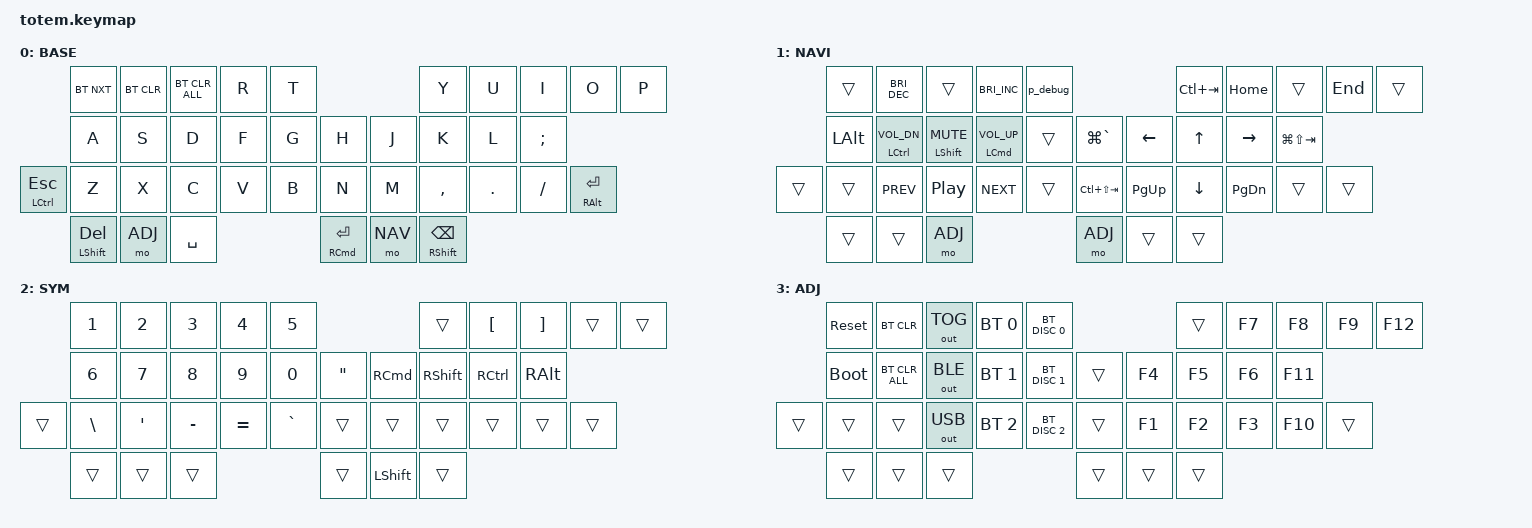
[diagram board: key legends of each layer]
//
//                                                        ▀▀▀▀▀     ▀▀▀▀▀          ▀▀█▀▀
//                                                        ▄▀▀▀▄  ▄  ▄▀▀▀▄  ▄  ▄▀▀▀▄  █  ▄▀▀▀▄
//                                                        █   █  █  █   █  █  █   █  █  █   █
//                                                         ▀▀▀   █   ▀▀▀   █   ▀▀▀   ▀   ▀▀▀
//                                                               █      ▄▄▄█▄▄▄    █   █  
//                                                               ▀      █  █  █     █▄█
//                                                             ▀▀▀▀▀    █  █  █      ▀
//                                                                      ▀  ▀  ▀
//
// ▄▄▄▄▄▄▄▄▄▄▄▄▄▄▄▄▄▄▄▄▄▄▄▄▄▄▄▄▄▄▄▄▄▄▄▄▄▄▄▄▄▄▄▄▄▄▄▄▄▄▄▄▄▄▄▄▄▄▄▄▄▄▄▄▄▄▄▄▄▄▄▄▄▄▄▄▄▄▄▄▄▄▄▄▄▄▄▄▄▄▄▄▄▄▄▄▄▄▄▄▄▄▄▄▄▄▄▄▄▄▄▄▄▄▄▄▄▄▄▄▄▄▄▄▄▄▄▄▄▄▄▄▄▄▄▄▄▄▄▄▄▄▄▄▄▄▄▄▄
       

#include <behaviors.dtsi>
#include <dt-bindings/zmk/keys.h>
#include <dt-bindings/zmk/bt.h>
#include <dt-bindings/zmk/outputs.h>

#define BASE 0
#define NAV  1
#define SYM  2
#define ADJ  3

&mt {
  quick-tap-ms = <150>;
  global-quick-tap;
  flavor = "tap-preferred";
  tapping-term-ms = <200>;
};

/ {
     combos {
            compatible = "zmk,combos";
            combo_esc {
                timeout-ms = <50>;
                key-positions = <0 1>;
                bindings = <&kp ESC>;
            };
    };

    macros {
        p_debug: p_debug {
            label = "p_debug";
            compatible = "zmk,behavior-macro";
            #binding-cells = <0>;
            bindings
                = <&macro_press &kp LEFT_COMMAND>
                , <&macro_press &kp LCTRL>
                , <&macro_press &kp LSHFT>
                , <&macro_tap &kp T>
                , <&macro_release &kp LSHFT>
                , <&macro_release &kp LEFT_COMMAND>
                , <&macro_release &kp LCTRL>
                ;
        };
    };

        keymap {
                compatible = "zmk,keymap";
// ▄▄▄▄▄▄▄▄▄▄▄▄▄▄▄▄▄▄▄▄▄▄▄▄▄▄▄▄▄▄▄▄▄▄▄▄▄▄▄▄▄▄▄▄▄▄▄▄▄▄▄▄▄▄▄▄▄▄▄▄▄▄▄▄▄▄▄▄▄▄▄▄▄▄▄▄▄▄▄▄▄▄▄▄▄▄▄▄▄▄▄▄▄▄▄▄▄▄▄▄▄▄▄▄▄▄▄▄▄▄▄▄▄▄▄▄▄▄▄▄▄▄▄▄▄▄▄▄▄▄▄▄▄▄▄▄▄▄▄▄▄▄▄▄▄▄▄▄▄

                base_layer {
// ┏━━━━━━━━━━━━━━━━━━━━━━━━━━━━━━━━━━━━━━━┓
label= "BASE"                              ;
// ┗━━━━━━━━━━━━━━━━━━━━━━━━━━━━━━━━━━━━━━━┛
//             ┏━━━━━━━━━━━┳━━━━━━━━━━━┳━━━━━━━━━━━┳━━━━━━━━━━━┳━━━━━━━━━━━┓   ┏━━━━━━━━━━━┳━━━━━━━━━━━┳━━━━━━━━━━━┳━━━━━━━━━━━┳━━━━━━━━━━━┓
//             ┃     Q     ┃     W     ┃     E     ┃     R     ┃     T     ┃   ┃     Y     ┃     U     ┃     I     ┃     O     ┃     P     ┃
//             ┣━━━━━━━━━━━╋━━━━━━━━━━━╋━━━━━━━━━━━╋━━━━━━━━━━━╋━━━━━━━━━━━┫   ┣━━━━━━━━━━━╋━━━━━━━━━━━╋━━━━━━━━━━━╋━━━━━━━━━━━╋━━━━━━━━━━━┫
//             ┃     A     ┃     S     ┃     D     ┃     F     ┃     G     ┃   ┃     H     ┃     J     ┃     K     ┃     L     ┃     ;     ┃
// ┏━━━━━━━━━━━╋━━━━━━━━━━━╋━━━━━━━━━━━╋━━━━━━━━━━━╋━━━━━━━━━━━╋━━━━━━━━━━━┫   ┣━━━━━━━━━━━╋━━━━━━━━━━━╋━━━━━━━━━━━╋━━━━━━━━━━━╋━━━━━━━━━━━╋━━━━━━━━━━━┓
// ┃ CTRL/ESC  ┃     Z     ┃     X     ┃     C     ┃     V     ┃     B     ┃   ┃     N     ┃     M     ┃     ,     ┃     .     ┃     /     ┃  ALT/RET  ┃
// ┗━━━━━━━━━━━┻━━━━━━━━━━━┻━━━━━━━━━━━╋━━━━━━━━━━━╋━━━━━━━━━━━╋━━━━━━━━━━━┫   ┣━━━━━━━━━━━╋━━━━━━━━━━━╋━━━━━━━━━━━╋━━━━━━━━━━━┻━━━━━━━━━━━┻━━━━━━━━━━━┛
//                                     ┃SHIFT/DEL  ┃ SYM/TAB   ┃     SPACE ┃   ┃  CMD/RET  ┃ NAV       ┃ SHIFT/BSPC┃
//                                     ┗━━━━━━━━━━━┻━━━━━━━━━━━┻━━━━━━━━━━━┛   ┗━━━━━━━━━━━┻━━━━━━━━━━━┻━━━━━━━━━━━┛
 bindings = <
// ╷           ╷           ╷           ╷           ╷           ╷           ╷   ╷           ╷           ╷           ╷           ╷           ╷           ╷

                    &bt BT_NXT       &bt BT_CLR       &bt BT_CLR_ALL       &kp R       &kp T           &kp Y       &kp U       &kp I       &kp O       &kp P
                    &kp A       &kp S       &kp D       &kp F       &kp G           &kp H       &kp J       &kp K       &kp L       &kp SEMICOLON
    &mt LCTRL ESC   &kp Z       &kp X       &kp C       &kp V       &kp B           &kp N       &kp M       &kp COMMA   &kp DOT     &kp FSLH        &mt RIGHT_ALT RET

                        &mt LSHFT DELETE   &mo ADJ   &kp SPACE              &mt RCMD RET    &mo NAV     &mt RSHIFT BSPC
                        >;
                };

// ▄▄▄▄▄▄▄▄▄▄▄▄▄▄▄▄▄▄▄▄▄▄▄▄▄▄▄▄▄▄▄▄▄▄▄▄▄▄▄▄▄▄▄▄▄▄▄▄▄▄▄▄▄▄▄▄▄▄▄▄▄▄▄▄▄▄▄▄▄▄▄▄▄▄▄▄▄▄▄▄▄▄▄▄▄▄▄▄▄▄▄▄▄▄▄▄▄▄▄▄▄▄▄▄▄▄▄▄▄▄▄▄▄▄▄▄▄▄▄▄▄▄▄▄▄▄▄▄▄▄▄▄▄▄▄▄▄▄▄▄▄▄▄▄▄▄▄▄▄


                nav_layer {
// ┏━━━━━━━━━━━━━━━━━━━━━━━━━━━━━━━━━━━━━━━┓
label= "NAVI"                              ;
// ┗━━━━━━━━━━━━━━━━━━━━━━━━━━━━━━━━━━━━━━━┛
//             ┏━━━━━━━━━━━┳━━━━━━━━━━━┳━━━━━━━━━━━┳━━━━━━━━━━━┳━━━━━━━━━━━┓   ┏━━━━━━━━━━━┳━━━━━━━━━━━┳━━━━━━━━━━━┳━━━━━━━━━━━┳━━━━━━━━━━━┓
//             ┃           ┃  BRI_DEC  ┃           ┃  BRI_INC  ┃ P DEBUG C ┃   ┃ CTRL+TAB  ┃    HOME   ┃           ┃     END   ┃           ┃
//             ┣━━━━━━━━━━━╋━━━━━━━━━━━╋━━━━━━━━━━━╋━━━━━━━━━━━╋━━━━━━━━━━━┫   ┣━━━━━━━━━━━╋━━━━━━━━━━━╋━━━━━━━━━━━╋━━━━━━━━━━━╋━━━━━━━━━━━┫
//             ┃   ALT     ┃ CTRL/VOL- ┃ SHIFT/MUTE┃ CMD/VOL+  ┃           ┃   ┃ CMD+`     ┃    LEFT   ┃     UP    ┃   RIGHT   ┃ CMD+TAB   ┃
// ┏━━━━━━━━━━━╋━━━━━━━━━━━╋━━━━━━━━━━━╋━━━━━━━━━━━╋━━━━━━━━━━━╋━━━━━━━━━━━┫   ┣━━━━━━━━━━━╋━━━━━━━━━━━╋━━━━━━━━━━━╋━━━━━━━━━━━╋━━━━━━━━━━━╋━━━━━━━━━━━┓
// ┃           ┃           ┃  PREV     ┃PLAY_PAUSE ┃   NEXT    ┃           ┃   ┃CTRL+SH+TAB┃    P UP   ┃    DOWN   ┃   P DOWN  ┃           ┃           ┃
// ┗━━━━━━━━━━━┻━━━━━━━━━━━┻━━━━━━━━━━━╋━━━━━━━━━━━╋━━━━━━━━━━━╋━━━━━━━━━━━┫   ┣━━━━━━━━━━━╋━━━━━━━━━━━╋━━━━━━━━━━━╋━━━━━━━━━━━┻━━━━━━━━━━━┻━━━━━━━━━━━┛
//                                     ┃           ┃           ┃    ADJ    ┃   ┃    ADJ    ┃           ┃           ┃
//                                     ┗━━━━━━━━━━━┻━━━━━━━━━━━┻━━━━━━━━━━━┛   ┗━━━━━━━━━━━┻━━━━━━━━━━━┻━━━━━━━━━━━┛
 bindings = <
// ╷           ╷           ╷           ╷           ╷           ╷           ╷   ╷           ╷           ╷           ╷           ╷           ╷           ╷

                &trans      &kp C_BRI_DEC   &trans  &kp C_BRI_INC   &p_debug         &kp LC(TAB)    &kp HOME    &trans      &kp END     &trans
                &kp LALT      &mt LCTRL C_VOL_DN    &mt LSHFT C_MUTE  &mt LCMD C_VOL_UP    &trans       &kp LG(GRAVE)   &kp LEFT    &kp UP      &kp RIGHT   &kp LG(LS(TAB))
    &trans      &trans      &kp C_PREV  &kp C_PLAY_PAUSE    &kp C_NEXT  &trans       &kp LC(LS(TAB))     &kp PG_UP   &kp DOWN    &kp PG_DN   &trans      &trans
                                        &trans      &trans      &mo ADJ              &mo ADJ    &trans      &trans
                        >;
                };

// ▄▄▄▄▄▄▄▄▄▄▄▄▄▄▄▄▄▄▄▄▄▄▄▄▄▄▄▄▄▄▄▄▄▄▄▄▄▄▄▄▄▄▄▄▄▄▄▄▄▄▄▄▄▄▄▄▄▄▄▄▄▄▄▄▄▄▄▄▄▄▄▄▄▄▄▄▄▄▄▄▄▄▄▄▄▄▄▄▄▄▄▄▄▄▄▄▄▄▄▄▄▄▄▄▄▄▄▄▄▄▄▄▄▄▄▄▄▄▄▄▄▄▄▄▄▄▄▄▄▄▄▄▄▄▄▄▄▄▄▄▄▄▄▄▄▄▄▄▄


                sim_layer {
// ┏━━━━━━━━━━━━━━━━━━━━━━━━━━━━━━━━━━━━━━━┓
label= "SYM"                               ;
// ┗━━━━━━━━━━━━━━━━━━━━━━━━━━━━━━━━━━━━━━━┛
//             ┏━━━━━━━━━━━┳━━━━━━━━━━━┳━━━━━━━━━━━┳━━━━━━━━━━━┳━━━━━━━━━━━┓   ┏━━━━━━━━━━━┳━━━━━━━━━━━┳━━━━━━━━━━━┳━━━━━━━━━━━┳━━━━━━━━━━━┓
//             ┃     1     ┃     2     ┃     3     ┃     4     ┃     5     ┃   ┃           ┃   [/{     ┃  ]/}      ┃           ┃           ┃
//             ┣━━━━━━━━━━━╋━━━━━━━━━━━╋━━━━━━━━━━━╋━━━━━━━━━━━╋━━━━━━━━━━━┫   ┣━━━━━━━━━━━╋━━━━━━━━━━━╋━━━━━━━━━━━╋━━━━━━━━━━━╋━━━━━━━━━━━┫
//             ┃     6     ┃     7     ┃     8     ┃     9     ┃     0     ┃   ┃      "    ┃    CMD    ┃   SHIFT   ┃   CTRL    ┃   ALT     ┃
// ┏━━━━━━━━━━━╋━━━━━━━━━━━╋━━━━━━━━━━━╋━━━━━━━━━━━╋━━━━━━━━━━━╋━━━━━━━━━━━┫   ┣━━━━━━━━━━━╋━━━━━━━━━━━╋━━━━━━━━━━━╋━━━━━━━━━━━╋━━━━━━━━━━━╋━━━━━━━━━━━┓
// ┃           ┃     \|    ┃     '/"   ┃    -/_    ┃    =/+    ┃    `/~    ┃   ┃           ┃           ┃           ┃           ┃           ┃           ┃
// ┗━━━━━━━━━━━┻━━━━━━━━━━━┻━━━━━━━━━━━╋━━━━━━━━━━━╋━━━━━━━━━━━╋━━━━━━━━━━━┫   ┣━━━━━━━━━━━╋━━━━━━━━━━━╋━━━━━━━━━━━╋━━━━━━━━━━━┻━━━━━━━━━━━┻━━━━━━━━━━━┛
//                                     ┃           ┃           ┃           ┃   ┃           ┃    SHIFT  ┃           ┃
//                                     ┗━━━━━━━━━━━┻━━━━━━━━━━━┻━━━━━━━━━━━┛   ┗━━━━━━━━━━━┻━━━━━━━━━━━┻━━━━━━━━━━━┛
 bindings = <
// ╷           ╷           ╷           ╷           ╷           ╷           ╷   ╷           ╷           ╷           ╷           ╷           ╷           ╷

                &kp N1      &kp N2      &kp N3      &kp N4      &kp N5          &trans      &kp LBKT    &kp RBKT      &trans      &trans
                &kp N6      &kp N7      &kp N8      &kp N9      &kp N0          &kp DQT     &kp RCMD    &kp RSHFT     &kp RCTRL   &kp RALT
    &trans      &kp BSLH    &kp SQT     &kp MINUS   &kp EQUAL   &kp GRAVE       &trans      &trans      &trans        &trans      &trans   &trans
                                        &trans      &trans      &trans          &trans      &kp LSHFT   &trans
                        >;
                };

// ▄▄▄▄▄▄▄▄▄▄▄▄▄▄▄▄▄▄▄▄▄▄▄▄▄▄▄▄▄▄▄▄▄▄▄▄▄▄▄▄▄▄▄▄▄▄▄▄▄▄▄▄▄▄▄▄▄▄▄▄▄▄▄▄▄▄▄▄▄▄▄▄▄▄▄▄▄▄▄▄▄▄▄▄▄▄▄▄▄▄▄▄▄▄▄▄▄▄▄▄▄▄▄▄▄▄▄▄▄▄▄▄▄▄▄▄▄▄▄▄▄▄▄▄▄▄▄▄▄▄▄▄▄▄▄▄▄▄▄▄▄▄▄▄▄▄▄▄▄


                adjust_layer {
// ┏━━━━━━━━━━━━━━━━━━━━━━━━━━━━━━━━━━━━━━━┓
label= "ADJ"                               ;
// ┗━━━━━━━━━━━━━━━━━━━━━━━━━━━━━━━━━━━━━━━┛
//             ┏━━━━━━━━━━━┳━━━━━━━━━━━┳━━━━━━━━━━━┳━━━━━━━━━━━┳━━━━━━━━━━━┓   ┏━━━━━━━━━━━┳━━━━━━━━━━━┳━━━━━━━━━━━┳━━━━━━━━━━━┳━━━━━━━━━━━┓
//             ┃   RESET   ┃ BT CLEAR  ┃  OUT TOG  ┃ BT_SEL 0  ┃ BT_DISC 0 ┃   ┃           ┃    F7     ┃    F8     ┃    F9     ┃    F12    ┃
//             ┣━━━━━━━━━━━╋━━━━━━━━━━━╋━━━━━━━━━━━╋━━━━━━━━━━━╋━━━━━━━━━━━┫   ┣━━━━━━━━━━━╋━━━━━━━━━━━╋━━━━━━━━━━━╋━━━━━━━━━━━╋━━━━━━━━━━━┫
//             ┃ BOOTLOAD  ┃ BT NEXT   ┃  OUT BLE  ┃ BT_SEL 1  ┃ BT_DISC 1 ┃   ┃           ┃    F4     ┃    F5     ┃    F6     ┃    F11    ┃
// ┏━━━━━━━━━━━╋━━━━━━━━━━━╋━━━━━━━━━━━╋━━━━━━━━━━━╋━━━━━━━━━━━╋━━━━━━━━━━━┫   ┣━━━━━━━━━━━╋━━━━━━━━━━━╋━━━━━━━━━━━╋━━━━━━━━━━━╋━━━━━━━━━━━╋━━━━━━━━━━━┓
// ┃           ┃           ┃ BT PREV   ┃  OUT USB  ┃ BT_SEL 2  ┃ BT_DISC 2 ┃   ┃           ┃    F1     ┃    F2     ┃    F3     ┃    F10    ┃           ┃
// ┗━━━━━━━━━━━┻━━━━━━━━━━━┻━━━━━━━━━━━╋━━━━━━━━━━━╋━━━━━━━━━━━╋━━━━━━━━━━━┫   ┣━━━━━━━━━━━╋━━━━━━━━━━━╋━━━━━━━━━━━╋━━━━━━━━━━━┻━━━━━━━━━━━┻━━━━━━━━━━━┛
//                                     ┃           ┃           ┃           ┃   ┃           ┃           ┃           ┃
//                                     ┗━━━━━━━━━━━┻━━━━━━━━━━━┻━━━━━━━━━━━┛   ┗━━━━━━━━━━━┻━━━━━━━━━━━┻━━━━━━━━━━━┛
 bindings = <
// ╷           ╷           ╷           ╷           ╷           ╷           ╷   ╷           ╷           ╷           ╷           ╷           ╷           ╷

                &sys_reset  &bt BT_CLR      &out OUT_TOG    &bt BT_SEL 0    &bt BT_DISC 0      &trans      &kp F7      &kp F8      &kp F9      &kp F12
                &bootloader &bt BT_CLR_ALL  &out OUT_BLE    &bt BT_SEL 1    &bt BT_DISC 1      &trans      &kp F4      &kp F5      &kp F6      &kp F11
    &trans      &trans      &trans          &out OUT_USB    &bt BT_SEL 2    &bt BT_DISC 2      &trans      &kp F1      &kp F2      &kp F3      &kp F10     &trans
                                        &trans      &trans      &trans          &trans      &trans      &trans      
                        >;
                };

// ▄▄▄▄▄▄▄▄▄▄▄▄▄▄▄▄▄▄▄▄▄▄▄▄▄▄▄▄▄▄▄▄▄▄▄▄▄▄▄▄▄▄▄▄▄▄▄▄▄▄▄▄▄▄▄▄▄▄▄▄▄▄▄▄▄▄▄▄▄▄▄▄▄▄▄▄▄▄▄▄▄▄▄▄▄▄▄▄▄▄▄▄▄▄▄▄▄▄▄▄▄▄▄▄▄▄▄▄▄▄▄▄▄▄▄▄▄▄▄▄▄▄▄▄▄▄▄▄▄▄▄▄▄▄▄▄▄▄▄▄▄▄▄▄▄▄▄▄▄



        };
};
